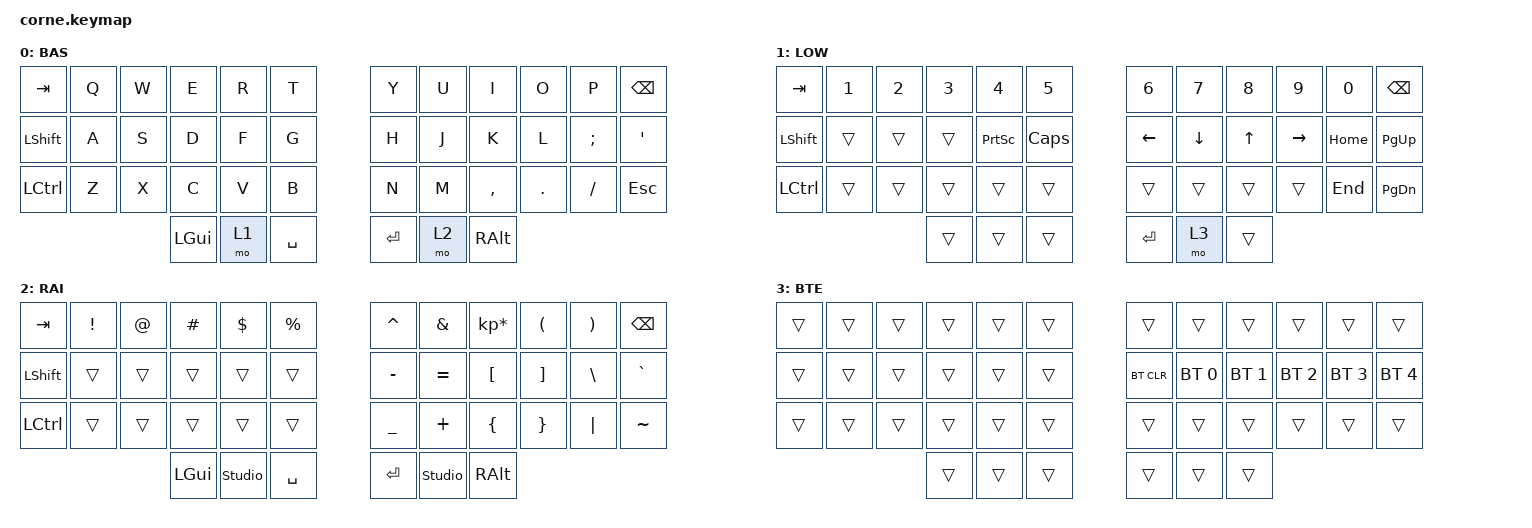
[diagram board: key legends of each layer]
/*
 * Copyright (c) 2020 The ZMK Contributors
 *
 * SPDX-License-Identifier: MIT
 */

#include <dt-bindings/led/led.h>
#include <dt-bindings/zmk/reset.h>
#include <behaviors.dtsi>
#include <dt-bindings/zmk/bt.h>
#include <dt-bindings/zmk/keys.h>

&led_strip { chain-length = <27>; };

/ {
    keymap {
        compatible = "zmk,keymap";

        default_layer {
            display-name = "BAS";

            // -----------------------------------------------------------------------------------------
            // |  TAB |  Q  |  W  |  E  |  R  |  T  |   |  Y  |  U   |  I  |  O  |  P  | BKSP |
            // | CTRL |  A  |  S  |  D  |  F  |  G  |   |  H  |  J   |  K  |  L  |  ;  |  '   |
            // | SHFT |  Z  |  X  |  C  |  V  |  B  |   |  N  |  M   |  ,  |  .  |  /  | ESC  |
            //                    | GUI | LWR | SPC |   | ENT | RSE  | ALT |

            bindings = <
&kp TAB         &kp Q  &kp W  &kp E     &kp R  &kp T        &kp Y    &kp U  &kp I      &kp O    &kp P     &kp BSPC
&kp LEFT_SHIFT  &kp A  &kp S  &kp D     &kp F  &kp G        &kp H    &kp J  &kp K      &kp L    &kp SEMI  &kp SQT
&kp LCTRL       &kp Z  &kp X  &kp C     &kp V  &kp B        &kp N    &kp M  &kp COMMA  &kp DOT  &kp FSLH  &kp ESC
                              &kp LGUI  &mo 1  &kp SPACE    &kp RET  &mo 2  &kp RALT
            >;
        };

        lower_layer {
            display-name = "LOW";

            // -----------------------------------------------------------------------------------------
            // |  TAB |  1  |  2  |  3  |  4  |  5  |   |  6  |  7  |  8  |  9  |  0  | BKSP |
            // | BTCLR| BT1 | BT2 | BT3 | BT4 | BT5 |   | LFT | DWN |  UP | RGT |     |      |
            // | SHFT |     |     |     |     |     |   |     |     |     |     |     |      |
            //                    | GUI |     | SPC |   | ENT |     | ALT |

            bindings = <
&kp TAB         &kp N1  &kp N2  &kp N3  &kp N4           &kp N5      &kp N6    &kp N7    &kp N8  &kp N9     &kp N0    &kp BSPC
&kp LEFT_SHIFT  &trans  &trans  &trans  &kp PRINTSCREEN  &kp CAPS    &kp LEFT  &kp DOWN  &kp UP  &kp RIGHT  &kp HOME  &kp PAGE_UP
&kp LCTRL       &trans  &trans  &trans  &trans           &trans      &trans    &trans    &trans  &trans     &kp END   &kp PAGE_DOWN
                                &trans  &trans           &trans      &kp RET   &mo 3     &trans
            >;
        };

        raise_layer {
            display-name = "RAI";

            // -----------------------------------------------------------------------------------------
            // |  TAB |  !  |  @  |  #  |  $  |  %  |   |  ^  |  &  |  *  |  (  |  )  | BKSP |
            // | CTRL |     |     |     |     |     |   |  -  |  =  |  [  |  ]  |  \  |  `   |
            // | SHFT |     |     |     |     |     |   |  _  |  +  |  {  |  }  | "|" |  ~   |
            //                    | GUI |     | SPC |   | ENT |     | ALT |

            bindings = <
&kp TAB         &kp EXCL  &kp AT  &kp HASH  &kp DLLR        &kp PRCNT    &kp CARET  &kp AMPS        &kp KP_MULTIPLY  &kp LPAR  &kp RPAR  &kp BSPC
&kp LEFT_SHIFT  &trans    &trans  &trans    &trans          &trans       &kp MINUS  &kp EQUAL       &kp LBKT         &kp RBKT  &kp BSLH  &kp GRAVE
&kp LCTRL       &trans    &trans  &trans    &trans          &trans       &kp UNDER  &kp PLUS        &kp LBRC         &kp RBRC  &kp PIPE  &kp TILDE
                                  &kp LGUI  &studio_unlock  &kp SPACE    &kp RET    &studio_unlock  &kp RALT
            >;
        };

        BTE {
            bindings = <
&trans  &trans  &trans  &trans  &trans  &trans    &trans      &trans        &trans        &trans        &trans        &trans
&trans  &trans  &trans  &trans  &trans  &trans    &bt BT_CLR  &bt BT_SEL 0  &bt BT_SEL 1  &bt BT_SEL 2  &bt BT_SEL 3  &bt BT_SEL 4
&trans  &trans  &trans  &trans  &trans  &trans    &trans      &trans        &trans        &trans        &trans        &trans
                        &trans  &trans  &trans    &trans      &trans        &trans
            >;
        };
    };
};
